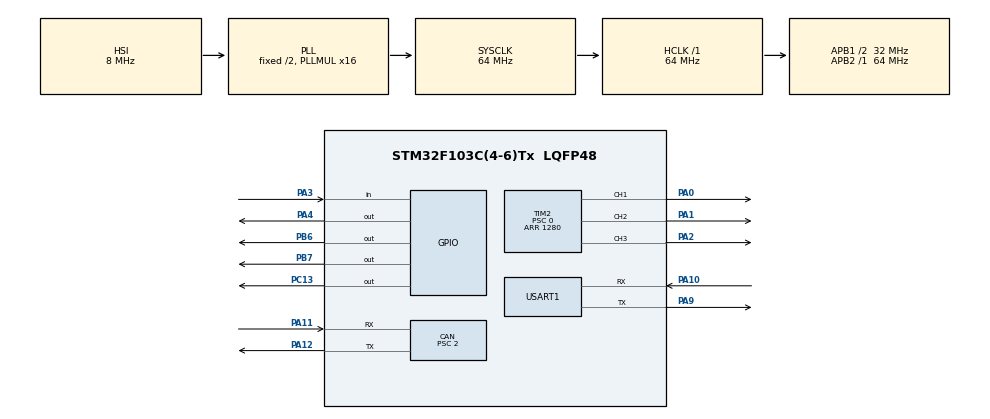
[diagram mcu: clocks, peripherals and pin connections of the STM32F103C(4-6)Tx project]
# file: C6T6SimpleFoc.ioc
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CAN.ABOM=ENABLE
CAN.AWUM=DISABLE
CAN.BS1=CAN_BS1_11TQ
CAN.BS2=CAN_BS2_4TQ
CAN.CalculateTimeQuantum=62.5
CAN.Mode=CAN_MODE_NORMAL
CAN.NART=ENABLE
CAN.Prescaler=2
CAN.RFLM=DISABLE
CAN.SJW=CAN_SJW_1TQ
CAN.TTCM=DISABLE
CAN.TXFP=DISABLE
Dma.Request0=USART1_RX
Dma.Request1=USART1_TX
Dma.USART1_RX.0.Direction=DMA_PERIPH_TO_MEMORY
Dma.USART1_RX.0.Instance=DMA1_Channel5
Dma.USART1_RX.0.MemDataAlignment=DMA_MDATAALIGN_BYTE
Dma.USART1_RX.0.MemInc=DMA_MINC_ENABLE
Dma.USART1_RX.0.Mode=DMA_NORMAL
Dma.USART1_RX.0.PeriphDataAlignment=DMA_PDATAALIGN_BYTE
Dma.USART1_RX.0.PeriphInc=DMA_PINC_DISABLE
Dma.USART1_RX.0.Priority=DMA_PRIORITY_LOW
Dma.USART1_TX.1.Direction=DMA_MEMORY_TO_PERIPH
Dma.USART1_TX.1.Instance=DMA1_Channel4
Dma.USART1_TX.1.MemDataAlignment=DMA_MDATAALIGN_BYTE
Dma.USART1_TX.1.MemInc=DMA_MINC_ENABLE
Dma.USART1_TX.1.Mode=DMA_NORMAL
Dma.USART1_TX.1.PeriphDataAlignment=DMA_PDATAALIGN_BYTE
Dma.USART1_TX.1.PeriphInc=DMA_PINC_DISABLE
Dma.USART1_TX.1.Priority=DMA_PRIORITY_LOW
Mcu.Family=STM32F1
Mcu.Name=STM32F103C(4-6)Tx
Mcu.Package=LQFP48
NVIC.DMA1_Channel4_IRQn=true\:0\:0\:false\:false\:true\:false\:true\:true
NVIC.DMA1_Channel5_IRQn=true\:0\:0\:false\:false\:true\:false\:true\:true
NVIC.PriorityGroup=NVIC_PRIORITYGROUP_4
NVIC.TIM1_BRK_IRQn=true\:1\:0\:true\:false\:true\:true\:true\:true
NVIC.TIM1_CC_IRQn=true\:1\:0\:true\:false\:true\:true\:true\:true
NVIC.TIM1_TRG_COM_IRQn=true\:1\:0\:true\:false\:true\:true\:true\:true
NVIC.TIM1_UP_IRQn=true\:1\:0\:true\:false\:true\:true\:true\:true
NVIC.TIM3_IRQn=true\:1\:0\:true\:false\:true\:true\:true\:true
NVIC.USART1_IRQn=true\:4\:0\:true\:false\:true\:true\:true\:true
NVIC.USB_LP_CAN1_RX0_IRQn=true\:1\:0\:true\:false\:true\:true\:true\:true
PA0-WKUP.Signal=S_TIM2_CH1_ETR
PA1.Signal=S_TIM2_CH2
PA10.Mode=Asynchronous
PA10.Signal=USART1_RX
PA11.Mode=Master
PA11.Signal=CAN_RX
PA12.Mode=Master
PA12.Signal=CAN_TX
PA13.Mode=Serial_Wire
PA13.Signal=SYS_JTMS-SWDIO
PA14.Mode=Serial_Wire
PA14.Signal=SYS_JTCK-SWCLK
PA2.Signal=S_TIM2_CH3
PA3.GPIO_PuPd=GPIO_PULLUP
PA3.Signal=GPIO_Input
PA4.Signal=GPIO_Output
PA9.Mode=Asynchronous
PA9.Signal=USART1_TX
PB6.GPIO_PuPd=GPIO_PULLUP
PB6.GPIO_Speed=GPIO_SPEED_FREQ_HIGH
PB6.PinState=GPIO_PIN_SET
PB6.Signal=GPIO_Output
PB7.GPIO_ModeDefaultOutputPP=GPIO_MODE_OUTPUT_OD
PB7.GPIO_PuPd=GPIO_PULLUP
PB7.GPIO_Speed=GPIO_SPEED_FREQ_HIGH
PB7.PinState=GPIO_PIN_SET
PB7.Signal=GPIO_Output
PC13-TAMPER-RTC.Signal=GPIO_Output
ProjectManager.HeapSize=0x400
ProjectManager.StackSize=0x800
ProjectManager.TargetToolchain=CMake
RCC.AHBFreq_Value=64000000
RCC.APB1CLKDivider=RCC_HCLK_DIV2
RCC.APB1Freq_Value=32000000
RCC.APB1TimFreq_Value=64000000
RCC.APB2Freq_Value=64000000
RCC.APB2TimFreq_Value=64000000
RCC.FLatency=FLASH_LATENCY_2
RCC.HCLKFreq_Value=64000000
RCC.PLLMUL=RCC_PLL_MUL16
RCC.SYSCLKFreq_VALUE=64000000
RCC.SYSCLKSource=RCC_SYSCLKSOURCE_PLLCLK
RCC.USBFreq_Value=64000000
SH.S_TIM2_CH1_ETR.0=TIM2_CH1,PWM Generation1 CH1
SH.S_TIM2_CH2.0=TIM2_CH2,PWM Generation2 CH2
SH.S_TIM2_CH3.0=TIM2_CH3,PWM Generation3 CH3
TIM1.AutoReloadPreload=TIM_AUTORELOAD_PRELOAD_DISABLE
TIM1.ClockDivision=TIM_CLOCKDIVISION_DIV1
TIM1.CounterMode=TIM_COUNTERMODE_UP
TIM1.Period=0
TIM1.Prescaler=64-1
TIM1.TIM_MasterOutputTrigger=TIM_TRGO_RESET
TIM1.TIM_MasterSlaveMode=TIM_MASTERSLAVEMODE_DISABLE
TIM2.AutoReloadPreload=TIM_AUTORELOAD_PRELOAD_DISABLE
TIM2.Channel-PWM\ Generation1\ CH1=TIM_CHANNEL_1
TIM2.Channel-PWM\ Generation2\ CH2=TIM_CHANNEL_2
TIM2.Channel-PWM\ Generation3\ CH3=TIM_CHANNEL_3
TIM2.ClockDivision=TIM_CLOCKDIVISION_DIV1
TIM2.CounterMode=TIM_COUNTERMODE_CENTERALIGNED1
TIM2.OC1Preload_PWM=ENABLE
TIM2.OC2Preload_PWM=ENABLE
TIM2.OC3Preload_PWM=ENABLE
TIM2.OCFastMode_PWM-PWM\ Generation1\ CH1=TIM_OCFAST_DISABLE
TIM2.OCFastMode_PWM-PWM\ Generation2\ CH2=TIM_OCFAST_DISABLE
TIM2.OCFastMode_PWM-PWM\ Generation3\ CH3=TIM_OCFAST_DISABLE
TIM2.OCMode_PWM-PWM\ Generation1\ CH1=TIM_OCMODE_PWM1
TIM2.OCMode_PWM-PWM\ Generation2\ CH2=TIM_OCMODE_PWM1
TIM2.OCMode_PWM-PWM\ Generation3\ CH3=TIM_OCMODE_PWM1
TIM2.OCPolarity_1=TIM_OCPOLARITY_HIGH
TIM2.OCPolarity_2=TIM_OCPOLARITY_HIGH
TIM2.OCPolarity_3=TIM_OCPOLARITY_HIGH
TIM2.Period=1280
TIM2.Prescaler=0
TIM2.Pulse-PWM\ Generation1\ CH1=0
TIM2.Pulse-PWM\ Generation2\ CH2=0
TIM2.Pulse-PWM\ Generation3\ CH3=0
TIM2.TIM_MasterOutputTrigger=TIM_TRGO_RESET
TIM2.TIM_MasterSlaveMode=TIM_MASTERSLAVEMODE_DISABLE
TIM3.Period=100
TIM3.Prescaler=64-1
USART1.VirtualMode=VM_ASYNC
VP_TIM1_VS_ClockSourceINT.Mode=Internal
VP_TIM2_VS_ClockSourceINT.Mode=Internal
VP_TIM3_VS_ClockSourceINT.Mode=Internal
board=custom

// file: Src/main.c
/* USER CODE BEGIN Header */
/**
  ******************************************************************************
  * @file           : main.c
  * @brief          : Main program body
  ******************************************************************************
  * @attention
  *
  * <h2><center>&copy; Copyright (c) 2023 STMicroelectronics.
  * All rights reserved.</center></h2>
  *
  * This software component is licensed by ST under BSD 3-Clause license,
  * the "License"; You may not use this file except in compliance with the
  * License. You may obtain a copy of the License at:
  *                        opensource.org/licenses/BSD-3-Clause
  *
  ******************************************************************************
  */
/* USER CODE END Header */

#include "main.h"
#include "can.h"
#include "dma.h"
#include "tim.h"
#include "usart.h"
#include "gpio.h"

/* USER CODE BEGIN Includes */
#include <math.h>
#include <stdio.h>
#include <string.h>
#include <sys/types.h>
#include "MagneticSensor.h"
#include "FOCMotor.h"
#include "BLDCMotor.h"
#include "FlashStorage.h"
/* USER CODE END Includes */

/* USER CODE BEGIN PTD */

//用于蜂鸣的音符
enum
{
	//不响
	T_None=0,
	//低八度
  T_L1=3822,
  T_L2=3405,
  T_L3=3034,
  T_L4=2863,
  T_L5=2551,
  T_L6=2272,
  T_L7=2052,
	//中八度
  T_M1=1911,
  T_M2=1703,
  T_M3=1517,
  T_M4=1432,
  T_M5=1276,
  T_M6=1136,
  T_M7=1012,
	//高八度
  T_H1=956,
  T_H2=851,
  T_H3=758,
  T_H4=716,
  T_H5=638,
  T_H6=568,
  T_H7=506
};

//卡尔曼滤波结构体
typedef struct{
	float X_last;
	float X_mid;
	float X_now;
	float P_mid;
	float P_now;
	float P_last;
	float kg;
	float A;
	float Q;
	float R;
	float H;
} Kalman;
/* USER CODE END PTD */

/* USER CODE BEGIN PD */
/* 调试打印周期(ms)：115200 下每行约 60 字节、阻塞约 6ms，调参时可临时改小 */
#define DEBUG_PRINT_MS 500
// #define _SQRT3 1.73205080757
/* USER CODE END PD */

/* USER CODE BEGIN PM */
#define VOLT_SUPPLY 24 //供电母线电压
#define MAX_VOLT 15  //限制供电电压(平均值)，最高为VOLT_SUPPLY/√3; 4010电机:6.9V, 2804电机:4V
/* USER CODE END PM */

/* USER CODE BEGIN PV */
float targetVotage = 0;    //当前目标电压
uint8_t beepPlaying = 0;   //当前是否在蜂鸣状态
uint8_t motorID = 1;       //初始电机ID
uint8_t ledBlink = 1;      //led是否处于正常闪烁模式
float speed = 0;           //传感器作差数据所得转速
float targetSpeed = 0;     //速度环目标转速(rpm)，由 CAN 或代码直接赋值
float filteredAngle = 0;   //经滤波得到的转子角度
uint32_t lastRecvTime = 0; //上次收到CAN数据帧的时间
Kalman angleFilter; //卡尔曼滤波结构体

typedef struct
{
	float p, i, d;            // 三个增益
	float dt;                 // 采样周期(s)
	float out_max;            // 输出限幅（对称），单位 V
	float target, now;        // 目标值 / 反馈值
	float error, error_prev;  // 本次 / 上次误差（Kd 用）
	float p_out, i_out, d_out;
	float i_s;                // 积分分离阈值：>0 时只有 |error|<i_s 才积分，填 0 = 一直积分
	float out;                // 本次输出
} motor_pid;

motor_pid test = {0};        // 速度环 PID 实例（初值由 PID_Init 统一给，别在这里手填）
/* USER CODE END PV */

void SystemClock_Config(void);

/* USER CODE BEGIN 0 */
// printf 重定向到 USART1（PA9=TX / PA10=RX，115200 8N1）
// GCC/newlib: printf -> _write() -> __io_putchar()，由这里逐字符发出
// Keil/armcc: printf -> fputc()，所以两条路都实现，换工具链也能看到日志
int fputc(int ch, FILE *f)
{
	(void)f;
	HAL_UART_Transmit(&huart1, (uint8_t *)&ch, 1, HAL_MAX_DELAY);
	return ch;
}
int __io_putchar(int ch)
{
	HAL_UART_Transmit(&huart1, (uint8_t *)&ch, 1, HAL_MAX_DELAY);
	return ch;
}

#define USART_BUF_SIZE 		  128		// 数组大小，可修改
#define PRINTF_USART_HANDLE   huart1	// 串口号，可修改
extern uint8_t info_ubuf[USART_BUF_SIZE];
#define INFO(...) HAL_UART_Transmit (&PRINTF_USART_HANDLE,\
									(uint8_t *)info_ubuf,\
									sprintf((char *)info_ubuf,__VA_ARGS__),\
									0xffff)

//单片机软件复位
void System_Reset(void)
{
	__set_FAULTMASK(1);
	NVIC_SystemReset();
}

/*************卡尔曼滤波*************/

void Kalman_Init(Kalman* p,float T_Q,float T_R)
{
	p->X_last = (float)0;
	p->P_last = 0;
	p->Q = T_Q;
	p->R = T_R;
	p->A = 1;
	p->H = 1;
	p->X_mid = p->X_last;
}

float Kalman_Filter(Kalman* p,float dat)
{
	if(!p) return 0;
	p->X_mid =p->A*p->X_last;                     //x(k|k-1) = AX(k-1|k-1)+BU(k)
	p->P_mid = p->A*p->P_last+p->Q;               //p(k|k-1) = Ap(k-1|k-1)A'+Q
	/* 分母保护：初始化前 Q=R=0 时 0/0=NaN，会把整条角度/转速链污染成 NaN */
	if(!(p->P_mid + p->R > 0.0f))
	{
		p->kg = 1.0f;
	}
	else
		p->kg = p->P_mid/(p->P_mid+p->R);         //kg(k) = p(k|k-1)H'/(Hp(k|k-1)'+R)
	p->X_now = p->X_mid+p->kg*(dat-p->X_mid);     //x(k|k) = X(k|k-1)+kg(k)(Z(k)-HX(k|k-1))
	p->P_now = (1-p->kg)*p->P_mid;                //p(k|k) = (I-kg(k)H)P(k|k-1)
	p->P_last = p->P_now;
	p->X_last = p->X_now;
	return p->X_now;
}
float pid_update(motor_pid *pid)
{
	/* ===== 数值保护：NaN 自愈 =====
	 * NaN 参与任何比较都返回 false，所以下面所有限幅分支对 NaN 全部失效，
	 * 一旦 i_out 变成 NaN 就会永久卡在积分器里：out=NaN → targetVotage=NaN
	 * → Ta/Tb/Tc=NaN → (int)NaN=0 → CCR=0 → 三相占空比全 0 → 不出力、无电流。
	 * 所以每次进来先做一次体检，发现非法值就把整环清零重来。 */
	if(!isfinite(pid->target) || !isfinite(pid->now) || !isfinite(pid->i_out) ||
	   !isfinite(pid->p) || !isfinite(pid->i) || !isfinite(pid->d) ||
	   !(pid->dt > 0.0f))
	{
		pid->i_out      = 0.0f;
		pid->d_out      = 0.0f;
		pid->error      = 0.0f;
		pid->error_prev = 0.0f;
		pid->out        = 0.0f;
		return 0.0f;
	}

	pid->error = pid->target - pid->now;

	/* P 项 */
	pid->p_out = pid->p * pid->error;

	/* I 项：积分分离(i_s>0 时大偏差不积分) + 积分限幅(抗饱和) */
	if(pid->i_s <= 0.0f || fabsf(pid->error) < pid->i_s)
	{
		pid->i_out += pid->i * pid->error * pid->dt;
		if(pid->i_out >  pid->out_max) pid->i_out =  pid->out_max;
		if(pid->i_out < -pid->out_max) pid->i_out = -pid->out_max;
	}

	if(pid->d != 0.0f)
		pid->d_out = pid->d * (pid->error - pid->error_prev) / pid->dt;
	else
		pid->d_out = 0.0f;
	pid->error_prev = pid->error;

	pid->out = pid->p_out + pid->i_out + pid->d_out;

	/* 总输出限幅 + 反向计算抗饱和：饱和时把多出去的部分从积分项里扣回来，
	 * 堵转/加速到头时积分就不会越积越多，退出饱和不会冲一大截 */
	if(pid->out > pid->out_max)
	{
		pid->i_out -= (pid->out - pid->out_max);
		pid->out = pid->out_max;
	}
	else if(pid->out < -pid->out_max)
	{
		pid->i_out -= (pid->out + pid->out_max);
		pid->out = -pid->out_max;
	}
	return pid->out;
}

/* PID 初始化：增益和限幅一次给全，内部状态全部清零 */
void PID_Init(motor_pid *pid, float kp, float ki, float kd, float dt, float i_s, float out_max)
{
	pid->p = kp;
	pid->i = ki;
	pid->d = kd;
	pid->dt = dt;
	pid->i_s = i_s;
	pid->out_max = out_max;
	pid->target = 0.0f;
	pid->now = 0.0f;
	pid->error = 0.0f;
	pid->error_prev = 0.0f;
	pid->p_out = 0.0f;
	pid->i_out = 0.0f;
	pid->d_out = 0.0f;
	pid->out = 0.0f;
}

/*************CAN通信*************/

//CAN外设初始化
void CAN_Init()
{
	CAN_FilterTypeDef filter;
	filter.FilterActivation = ENABLE;
	filter.FilterMode = CAN_FILTERMODE_IDMASK;
	filter.FilterMode = CAN_FILTERMODE_IDMASK;
	filter.FilterScale = CAN_FILTERSCALE_32BIT;
	filter.FilterIdHigh = 0x0000;
	filter.FilterIdLow = 0x0000;
	filter.FilterMaskIdHigh = 0x0000;
	filter.FilterMaskIdLow = 0x0000;
	filter.FilterBank = 0;
	filter.FilterFIFOAssignment = CAN_RX_FIFO0;
	HAL_CAN_ConfigFilter(&hcan, &filter);
	HAL_CAN_Start(&hcan);
	HAL_CAN_ActivateNotification(&hcan, CAN_IT_RX_FIFO0_MSG_PENDING);
}

//发送一个反馈数据帧
void CAN_SendState(float angle, float speed)
{
	CAN_TxHeaderTypeDef header;
	header.StdId = motorID + 0x100;
	header.IDE = CAN_ID_STD;
	header.RTR = CAN_RTR_DATA;
	header.DLC = 8;

	uint8_t data[8];
	memcpy(data,&(int32_t){angle*1000},4); //角度数据放在前四个字节
	memcpy(&data[4],&(int16_t){speed*10},2); //转速数据放在第5-6字节

	uint32_t mailbox;
	HAL_CAN_AddTxMessage(&hcan, &header, data, &mailbox);
}

//CAN收到数据的中断回调
void HAL_CAN_RxFifo0MsgPendingCallback(CAN_HandleTypeDef *hcan)
{
	CAN_RxHeaderTypeDef header;
	uint8_t rxData[8];

	if(HAL_CAN_GetRxMessage(hcan, CAN_RX_FIFO0, &header, rxData) != HAL_OK)
		return;

	if(header.StdId == 0x100 && motorID <= 4) //ID=1~4接收0x100数据帧
	{
		int16_t cmd = *(int16_t*)&rxData[(motorID-1)*2];
		targetVotage = cmd / 1000.0f;  //电压模式：指令单位 mV
		targetSpeed  = cmd / 10.0f;    //速度模式：指令单位 0.1rpm（同一个数，两种解释）
		lastRecvTime = HAL_GetTick();
	}
	else if(header.StdId == 0x200 && motorID > 4) //ID=5~8接收0x200数据帧
	{
		int16_t cmd = *(int16_t*)&rxData[(motorID-5)*2];
		targetVotage = cmd / 1000.0f;
		targetSpeed  = cmd / 10.0f;
		lastRecvTime = HAL_GetTick();
	}
}

/*************FOC*************/

void SimpleFOC_Init()
{
	HAL_TIM_PWM_Start(&htim2,TIM_CHANNEL_1); //开启三个PWM通道输出
	HAL_TIM_PWM_Start(&htim2,TIM_CHANNEL_2);
	HAL_TIM_PWM_Start(&htim2,TIM_CHANNEL_3);

	/* 打开 TIM2 更新中断（最高优先级）：三相比较值在载波零点统一装载，见 TIM2_IRQHandler() */
	__HAL_TIM_ENABLE_IT(&htim2, TIM_IT_UPDATE);
	HAL_NVIC_SetPriority(TIM2_IRQn, 0, 0);
	HAL_NVIC_EnableIRQ(TIM2_IRQn);

	MagneticSensor_Init(); //初始化磁传感器

	voltage_power_supply=VOLT_SUPPLY; //设定FOC所需参数
	voltage_limit=MAX_VOLT;
	voltage_sensor_align=voltage_limit;
	targetVotage=0;

	Motor_init(); //初始化电机信息
	Motor_initFOC(); //初始化FOC参数

	motorID = Flash_ReadMotorID(); //从Flash读取电机ID
	motorID = motorID ? motorID : 1;

	//串口启动横幅：能看到这一行就说明 printf 重定向到 USART1 生效了
	printf("\r\n[C6T6SimpleFoc] ready. ID=%d, pole_pairs=%d, dir=%d\r\n",
		motorID, pole_pairs, (int)sensor_direction);
}

/*************蜂鸣*************///(没画)

//根据蜂鸣周期配置并触发定时器
void Beep_Play(uint16_t period)
{
	if(period!=0)
	{
		__HAL_TIM_SetAutoreload(&htim1,period/2);
		HAL_TIM_Base_Start_IT(&htim1);
		beepPlaying = 1;
	}
	else
	{
		HAL_TIM_Base_Stop_IT(&htim1);
		beepPlaying = 0;
	}
}

//播放一串音符
void Beep_PlayNotes(uint8_t num, uint16_t notes[][2])
{
	for(uint8_t i=0; i<num; i++)
	{
		Beep_Play(notes[i][0]);
		HAL_Delay(notes[i][1]);
	}
	Beep_Play(0);
}

//蜂鸣中断处理，在定时器中断回调中调用
void Beep_IRQHandler()
{
	static uint8_t flipFlag = 0;
	if(targetVotage == 0)
	{
		setPhaseVoltage(voltage_limit/2, 0, _PI/3 * flipFlag); //使磁场方向在0-PI/3间震荡
		flipFlag = !flipFlag;
	}
}

/*************各个定时任务*************/

//非阻塞按键处理
void Key_Process()
{
	static uint32_t downTime = 0;
	static uint8_t lastKeyState = 0;
	uint8_t keyState = (HAL_GPIO_ReadPin(GPIOA, GPIO_PIN_3) == GPIO_PIN_RESET) ? 1 : 0;
	if(keyState && !lastKeyState) //按下
	{
		downTime = HAL_GetTick();
		ledBlink = 0;
	}
	else if(keyState && lastKeyState) //按住
	{
		uint32_t pressTime = HAL_GetTick() - downTime;
		if(pressTime < 500*8) //闪8下，每次500ms
		{
			if(pressTime%500 < 100)
				HAL_GPIO_WritePin(GPIOC, GPIO_PIN_13, GPIO_PIN_SET);
			else
				HAL_GPIO_WritePin(GPIOC, GPIO_PIN_13, GPIO_PIN_RESET);
		}
		else if(pressTime < 500*12)
			HAL_GPIO_WritePin(GPIOC, GPIO_PIN_13, GPIO_PIN_SET);
		else
			HAL_GPIO_WritePin(GPIOC, GPIO_PIN_13, GPIO_PIN_RESET); //闪8下之后常亮
	}
	else if(!keyState && lastKeyState) //松开
	{
		uint32_t pressTime = HAL_GetTick() - downTime;
		if(pressTime > 50 && pressTime <500*8) //闪8下以内松开，设置ID
		{
			motorID = pressTime/500 + 1;
			Flash_SaveMotorID(motorID);
		}
		else if(pressTime >= 500*8 && pressTime < 500*12) //闪8下后松开，清空Flash后复位重新校准
		{
			Flash_EraseMotorParam();
			System_Reset();
		}
		HAL_GPIO_WritePin(GPIOC, GPIO_PIN_13, GPIO_PIN_RESET);
		ledBlink = 1;
	}
	lastKeyState = keyState;
}

//非阻塞LED定时任务，闪烁次数表示电机ID
void Led_Process()
{
	if(!ledBlink) return;
	uint32_t period = 1000 + (100+200)*motorID;
	uint32_t mod = HAL_GetTick() % period;
	if(mod < (100+200)*motorID && mod%(100+200) < 100)
		HAL_GPIO_WritePin(GPIOC, GPIO_PIN_13, GPIO_PIN_SET);
	else
		HAL_GPIO_WritePin(GPIOC, GPIO_PIN_13, GPIO_PIN_RESET);
}

//电机转速计算
void Motor_SpeedCalcProcess()
{
	enum { speedLpfLen = 5 };
	static float speedLpfBuf[speedLpfLen] = {0}; //存放5个filteredAngle

	float angle = filteredAngle;
	uint8_t lpfValid = 1;
	for(uint8_t i=0; i<speedLpfLen; i++) //历史缓冲里只要有一个非法值，这轮速度就不可信
		if(!isfinite(speedLpfBuf[i])) lpfValid = 0;
	if(!isfinite(angle)) lpfValid = 0;

	float curSpeed = 0;
	if(lpfValid)
		curSpeed = (angle-speedLpfBuf[0])*1000/speedLpfLen/_2PI*60;
	speed = curSpeed;

	for(uint8_t i=0; i<speedLpfLen-1; i++)
		speedLpfBuf[i] = speedLpfBuf[i+1];
	speedLpfBuf[speedLpfLen-1] = angle;
}

//CAN离线检测，500ms没收到CAN信号则停机
void Motor_OfflineCheckProcess()
{
	static uint8_t isOffline = 0;
	if(HAL_GetTick() - lastRecvTime > 500)
	{
		if(!isOffline)
		{
			targetVotage = 0;
			isOffline = 1;
		}
	}
	else
		isOffline = 0;
}

//在滴答定时器中调用，1ms周期，处理各定时任务
void SysTick_UserExec()
{
	Key_Process();
	Led_Process();
	Motor_SpeedCalcProcess();

	test.target = targetSpeed;
	test.now    = speed;
	targetVotage    = pid_update(&test);

	//Motor_OfflineCheckProcess(); //CAN 离线检测：接 CAN 后务必打开，并把下面的 targetVotage 改成 targetSpeed
	if(HAL_GetTick()%2)
		CAN_SendState(shaft_angle, speed);
	filteredAngle = Kalman_Filter(&angleFilter, shaft_angle);
}
/* USER CODE END 0 */

int main(void)
{
	Kalman_Init(&angleFilter, 0.0005f, 0.02f); //设定卡尔曼滤波系数
	PID_Init(&test, 0.02f, 0.6f, 0.0f, 0.001f, 0.0f, MAX_VOLT);
  /* USER CODE END 1 */

  /* MCU Configuration--------------------------------------------------------*/

  /* Reset of all peripherals, Initializes the Flash interface and the Systick. */
  HAL_Init();

  /* Configure the system clock */
  SystemClock_Config();

  /* Initialize all configured peripherals */
  MX_GPIO_Init();
  MX_DMA_Init();
  MX_CAN_Init();
  MX_TIM2_Init();
  MX_TIM1_Init();
  MX_TIM3_Init();
  MX_USART1_UART_Init();
  /* USER CODE BEGIN 2 */

	CAN_Init(); //CAN外设初始化
	SimpleFOC_Init(); //FOC初始化
	targetSpeed = 0.0f; //测试目标转速：改 0 停机，改负数反转

  /* USER CODE END 2 */

  /* Infinite loop */
  /* USER CODE BEGIN WHILE */
  while (1)
  {
		if(!isfinite(targetVotage)) targetVotage = 0.0f;
		if(fabsf(targetVotage) > 24.0f) {targetVotage = 0;}
		else setTargetVotage(targetVotage);
		loopFOC(); //运行FOC算法
    /* USER CODE END WHILE */

  }
}

void SystemClock_Config(void)
{
  RCC_OscInitTypeDef RCC_OscInitStruct = {0};
  RCC_ClkInitTypeDef RCC_ClkInitStruct = {0};

  /** Initializes the CPU, AHB and APB busses clocks
  */
  RCC_OscInitStruct.OscillatorType = RCC_OSCILLATORTYPE_HSI;
  RCC_OscInitStruct.HSIState = RCC_HSI_ON;
  RCC_OscInitStruct.HSICalibrationValue = RCC_HSICALIBRATION_DEFAULT;
  RCC_OscInitStruct.PLL.PLLState = RCC_PLL_ON;
  RCC_OscInitStruct.PLL.PLLSource = RCC_PLLSOURCE_HSI_DIV2;
  RCC_OscInitStruct.PLL.PLLMUL = RCC_PLL_MUL16;
  if (HAL_RCC_OscConfig(&RCC_OscInitStruct) != HAL_OK)
  {
    Error_Handler();
  }
  /** Initializes the CPU, AHB and APB busses clocks
  */
  RCC_ClkInitStruct.ClockType = RCC_CLOCKTYPE_HCLK|RCC_CLOCKTYPE_SYSCLK
                              |RCC_CLOCKTYPE_PCLK1|RCC_CLOCKTYPE_PCLK2;
  RCC_ClkInitStruct.SYSCLKSource = RCC_SYSCLKSOURCE_PLLCLK;
  RCC_ClkInitStruct.AHBCLKDivider = RCC_SYSCLK_DIV1;
  RCC_ClkInitStruct.APB1CLKDivider = RCC_HCLK_DIV2;
  RCC_ClkInitStruct.APB2CLKDivider = RCC_HCLK_DIV1;

  if (HAL_RCC_ClockConfig(&RCC_ClkInitStruct, FLASH_LATENCY_2) != HAL_OK)
  {
    Error_Handler();
  }
}

/* USER CODE BEGIN 4 */
/* TIM2 更新中断（25 kHz，中心对齐的载波零点）：把 setPhaseVoltage() 算好的三相比较值
 * 一次性装载进 CCR。放在中断里而不是主循环里，是为了让三相永远属于同一个 PWM 周期；
 * 这里只做搬运（每条几个指令），对 CPU 的占用可以忽略。 */
void TIM2_IRQHandler(void)
{
	if(__HAL_TIM_GET_FLAG(&htim2, TIM_FLAG_UPDATE) != RESET)
	{
		__HAL_TIM_CLEAR_FLAG(&htim2, TIM_FLAG_UPDATE);
		if(pwmPending)
		{
			pwmPending = 0;  /* 先清标志再装载：装载期间若主循环又写了新值，下个周期会再装一次 */
			__HAL_TIM_SET_COMPARE(&htim2, TIM_CHANNEL_1, (uint32_t)pwmCcrA);
			__HAL_TIM_SET_COMPARE(&htim2, TIM_CHANNEL_2, (uint32_t)pwmCcrB);
			__HAL_TIM_SET_COMPARE(&htim2, TIM_CHANNEL_3, (uint32_t)pwmCcrC);
		}
	}
}
/* USER CODE END 4 */

void Error_Handler(void)
{
}

/************************ (C) COPYRIGHT STMicroelectronics *****END OF FILE****/
